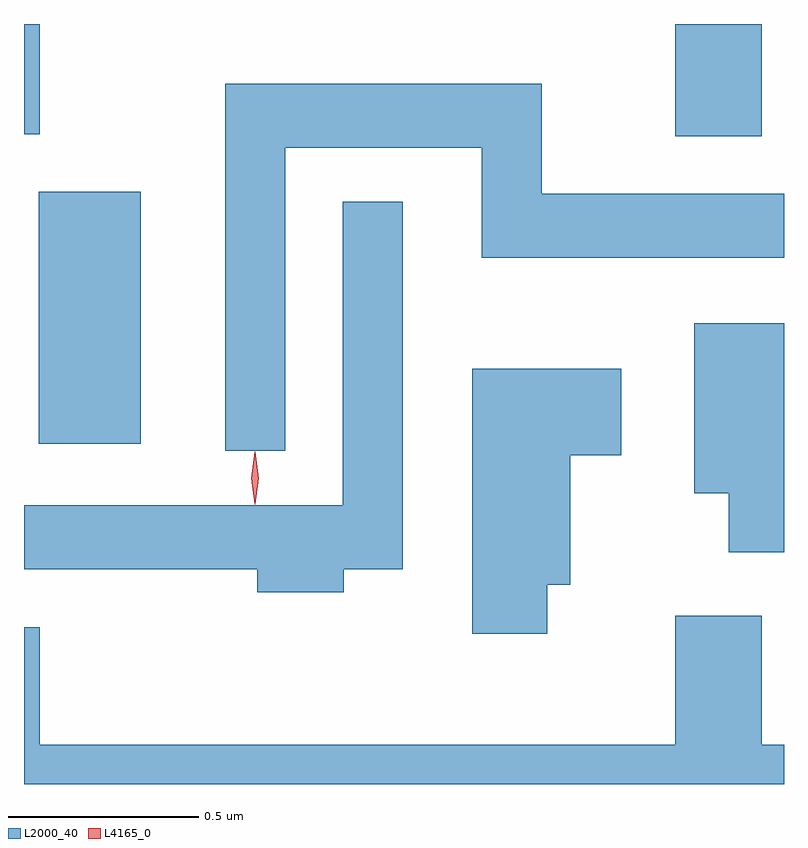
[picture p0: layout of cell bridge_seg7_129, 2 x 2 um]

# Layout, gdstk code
import gdstk
lib = gdstk.Library(unit=1e-6, precision=1e-09)
def R(c, l, rs):  # rectangles x0, y0, x1, y1
    for r in rs: c.add(gdstk.rectangle(r[:2], r[2:], *l))
def P(c, l, *ps):  # polygons
    for p in ps: c.add(gdstk.Polygon(p, *l))
L2000_40 = (2000, 40)
L4165_0 = (4165, 0)

bridge_seg7_129 = lib.new_cell('bridge_seg7_129')
R(bridge_seg7_129, L2000_40, [(1562.066,1788.636,1562.334,1789.299), (1563.741,1789.446,1563.969,1789.741), (1562.027,1789.451,1562.069,1789.741)])
P(bridge_seg7_129, L2000_40, [(1562.714,1789.416),(1563.231,1789.416),(1563.231,1789.126),(1564.027,1789.126),(1564.027,1789.294),(1563.389,1789.294),(1563.389,1789.584),(1562.556,1789.584),(1562.556,1788.618),(1562.714,1788.618)],
  [(1562.869,1788.306),(1563.024,1788.306),(1563.024,1789.273),(1562.866,1789.273),(1562.866,1788.474),(1562.027,1788.474),(1562.027,1788.306),(1562.641,1788.306),(1562.641,1788.246),(1562.869,1788.246)],
  [(1564.027,1788.954),(1563.791,1788.954),(1563.791,1788.506),(1563.881,1788.506),(1563.881,1788.351),(1564.027,1788.351)],
  [(1563.404,1788.266),(1563.464,1788.266),(1563.464,1788.606),(1563.599,1788.606),(1563.599,1788.834),(1563.206,1788.834),(1563.206,1788.136),(1563.404,1788.136)],
  [(1564.027,1787.844),(1563.969,1787.844),(1563.969,1788.184),(1563.741,1788.184),(1563.741,1787.844),(1562.069,1787.844),(1562.069,1788.154),(1562.027,1788.154),(1562.027,1787.741),(1564.027,1787.741)])
P(bridge_seg7_129, L4165_0, [(1562.634,1788.477),(1562.625,1788.546),(1562.634,1788.616),(1562.635,1788.616),(1562.636,1788.616),(1562.645,1788.546),(1562.636,1788.477),(1562.635,1788.477)],
  [(1562.635,1788.479),(1562.634,1788.48),(1562.625,1788.546),(1562.634,1788.612),(1562.635,1788.613),(1562.635,1788.612),(1562.645,1788.546),(1562.635,1788.48)])

lib.write_gds('bridge_seg7_129.gds')
